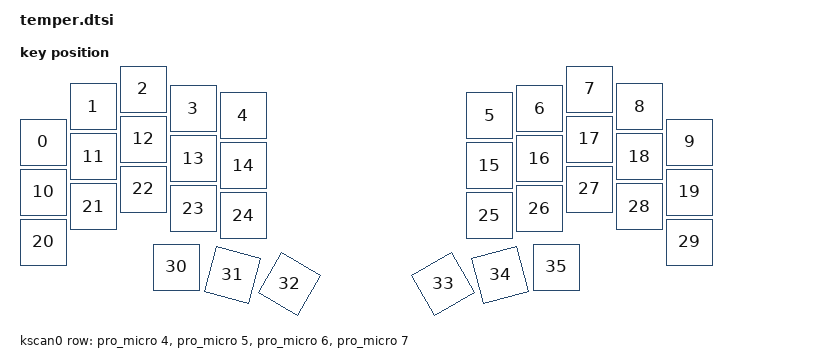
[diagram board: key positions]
#include <physical_layouts.dtsi>

/ {
    kscan0: kscan {
        compatible = "zmk,kscan-gpio-matrix";
        label = "KSCAN";

        diode-direction = "col2row";
        row-gpios
            = <&pro_micro 4 (GPIO_ACTIVE_HIGH | GPIO_PULL_DOWN)>
            , <&pro_micro 5 (GPIO_ACTIVE_HIGH | GPIO_PULL_DOWN)>
            , <&pro_micro 6 (GPIO_ACTIVE_HIGH | GPIO_PULL_DOWN)>
            , <&pro_micro 7 (GPIO_ACTIVE_HIGH | GPIO_PULL_DOWN)>
            ;

    };

    physical_layout0: physical_layout_0 {
        compatible = "zmk,physical-layout";
        display-name = "LAYOUT";

        kscan = <&kscan0>;
        transform = <&matrix_transform0>;

        keys  //                     w   h    x    y     rot    rx    ry
            = <&key_physical_attrs 100 100    0  106       0     0     0>
            , <&key_physical_attrs 100 100  100   35       0     0     0>
            , <&key_physical_attrs 100 100  200    0       0     0     0>
            , <&key_physical_attrs 100 100  300   39       0     0     0>
            , <&key_physical_attrs 100 100  400   53       0     0     0>
            , <&key_physical_attrs 100 100  893   53       0     0     0>
            , <&key_physical_attrs 100 100  993   39       0     0     0>
            , <&key_physical_attrs 100 100 1093    0       0     0     0>
            , <&key_physical_attrs 100 100 1193   35       0     0     0>
            , <&key_physical_attrs 100 100 1293  106       0     0     0>
            , <&key_physical_attrs 100 100    0  206       0     0     0>
            , <&key_physical_attrs 100 100  100  135       0     0     0>
            , <&key_physical_attrs 100 100  200  100       0     0     0>
            , <&key_physical_attrs 100 100  300  139       0     0     0>
            , <&key_physical_attrs 100 100  400  153       0     0     0>
            , <&key_physical_attrs 100 100  893  153       0     0     0>
            , <&key_physical_attrs 100 100  993  139       0     0     0>
            , <&key_physical_attrs 100 100 1093  100       0     0     0>
            , <&key_physical_attrs 100 100 1193  135       0     0     0>
            , <&key_physical_attrs 100 100 1293  206       0     0     0>
            , <&key_physical_attrs 100 100    0  306       0     0     0>
            , <&key_physical_attrs 100 100  100  235       0     0     0>
            , <&key_physical_attrs 100 100  200  200       0     0     0>
            , <&key_physical_attrs 100 100  300  239       0     0     0>
            , <&key_physical_attrs 100 100  400  253       0     0     0>
            , <&key_physical_attrs 100 100  893  253       0     0     0>
            , <&key_physical_attrs 100 100  993  239       0     0     0>
            , <&key_physical_attrs 100 100 1093  200       0     0     0>
            , <&key_physical_attrs 100 100 1193  235       0     0     0>
            , <&key_physical_attrs 100 100 1293  306       0     0     0>
            , <&key_physical_attrs 100 100  267  356       0     0     0>
            , <&key_physical_attrs 100 100  379  372    1500   429   422>
            , <&key_physical_attrs 100 100  493  390    3000   543   440>
            , <&key_physical_attrs 100 100  800  390 (-3000)   850   440>
            , <&key_physical_attrs 100 100  914  372 (-1500)   964   422>
            , <&key_physical_attrs 100 100 1026  356       0     0     0>
            ;
    };
};

&pro_micro_i2c {
    status = "okay";

    oled: ssd1306@3c {
        compatible = "solomon,ssd1306fb";
        reg = <0x3c>;
        label = "DISPLAY";
        width = <128>;
        height = <32>;
        segment-offset = <0>;
        page-offset = <0>;
        display-offset = <0>;
        multiplex-ratio = <31>;
        segment-remap;
        com-invdir;
        com-sequential;
        prechargep = <0x22>;
    };
};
